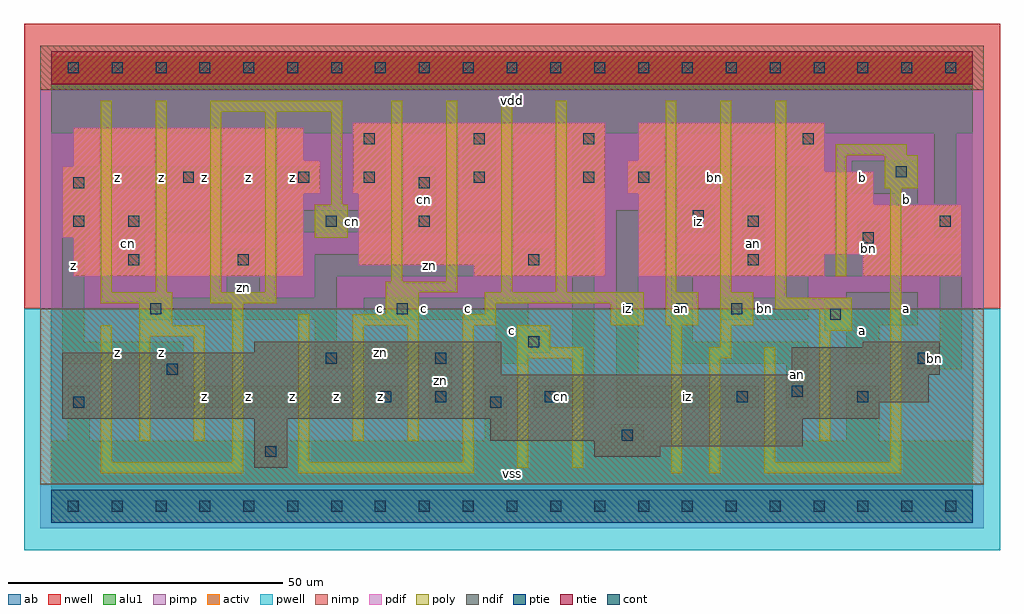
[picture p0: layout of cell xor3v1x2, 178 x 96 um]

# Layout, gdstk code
import gdstk
lib = gdstk.Library(unit=1e-6, precision=1e-09)
def R(c, l, rs):  # rectangles x0, y0, x1, y1
    for r in rs: c.add(gdstk.rectangle(r[:2], r[2:], *l))
def A(c, l, x, y, w, h, nx, ny, dx, dy):  # array of equal rectangles
    R(c, l, [(x+i*dx, y+j*dy, x+i*dx+w, y+j*dy+h) for i in range(nx) for j in range(ny)])
ndif = (3, 0)
pdif = (4, 0)
ntie = (5, 0)
ptie = (6, 0)
cont = (25, 0)
pwell = (41, 0)
nwell = (42, 0)
activ = (43, 0)
pimp = (44, 0)
nimp = (45, 0)
poly = (46, 0)
alu1 = (49, 0)
ab = (63, 0)

xor3v1x2 = lib.new_cell('xor3v1x2')
R(xor3v1x2, ndif, [(37,7,43,16), (99,9,111,11), (99,11,137,12), (80,12,137,16), (2,16,151,19), (2,19,160,24), (2,24,82,28), (135,24,162,29), (37,28,82,30), (148,29,162,30)])
R(xor3v1x2, pdif, [(4,42,46,49), (77,42,101,44), (107,42,141,46), (148,42,166,46), (56,44,101,57), (107,46,166,55), (2,49,46,57), (107,55,150,57), (2,57,49,62), (55,57,101,70), (105,57,150,61), (105,61,141,63), (4,62,49,63), (4,63,46,69), (107,63,141,70)])
R(xor3v1x2, ntie, [(0,77,168,83)])
R(xor3v1x2, ptie, [(0,-3,168,3)])
A(xor3v1x2, cont, 3, -1, 2, 2, 21, 2, 8, 80)
A(xor3v1x2, cont, 104, 35, 2, 2, 3, 1, 10, 0)
A(xor3v1x2, cont, 57, 59, 2, 2, 3, 2, 20, 7)
R(xor3v1x2, cont, [(39,9,41,11), (104,12,106,14), (4,18,6,20), (80,18,82,20), (60,19,62,21), (70,19,72,21), (90,19,92,21), (125,19,127,21), (147,19,149,21), (135,20,137,22), (21,24,23,26), (50,26,52,28), (70,26,72,28), (158,26,160,28), (87,29,89,31), (142,34,144,36), (18,35,20,37), (63,35,65,37), (14,44,16,46), (34,44,36,46), (87,44,89,46), (127,44,129,46), (148,48,150,50), (4,51,6,53), (14,51,16,53), (50,51,52,53), (67,51,69,53), (127,51,129,53), (162,51,164,53), (117,52,119,54), (4,58,6,60), (67,58,69,60), (24,59,26,61), (45,59,47,61), (107,59,109,61), (154,60,156,62), (137,66,139,68)])
R(xor3v1x2, pwell, [(-5,-8,173,36)])
R(xor3v1x2, nwell, [(-5,36,173,88)])
R(xor3v1x2, activ, [(0,-3,168,3), (37,7,43,16), (99,9,111,11), (99,11,137,12), (80,12,137,16), (2,16,151,19), (2,19,160,24), (2,24,82,28), (135,24,162,29), (37,28,82,30), (148,29,162,30), (4,42,46,49), (77,42,101,44), (107,42,141,46), (148,42,166,46), (56,44,101,57), (107,46,166,55), (2,49,46,57), (107,55,150,57), (2,57,49,62), (55,57,101,70), (105,57,150,61), (105,61,141,63), (4,62,49,63), (4,63,46,69), (107,63,141,70), (0,77,168,83)])
R(xor3v1x2, pimp, [(-2,-4,170,4), (-2,36,170,76)])
R(xor3v1x2, nimp, [(-2,4,170,36), (-2,76,170,84)])
R(xor3v1x2, poly, [(9,6,35,8), (45,6,77,8), (113,6,115,33), (120,6,122,27), (130,6,155,8), (85,7,87,27), (95,7,97,27), (9,8,11,33), (33,8,35,37), (45,8,47,35), (75,8,77,33), (130,8,132,29), (153,8,155,58), (16,12,18,31), (26,12,28,31), (55,12,57,33), (65,12,67,33), (140,12,142,32), (85,27,97,29), (120,27,124,29), (85,29,91,33), (122,29,124,33), (16,31,28,33), (140,32,146,36), (16,33,22,37), (55,33,67,35), (75,33,81,35), (102,33,108,37), (112,33,118,39), (122,33,128,39), (61,35,67,39), (79,35,81,37), (132,36,146,38), (9,37,22,39), (29,37,41,39), (79,37,108,39), (132,38,134,74), (9,39,11,74), (19,39,21,74), (29,39,31,72), (39,39,41,72), (61,39,74,41), (82,39,84,74), (92,39,94,74), (112,39,114,74), (122,39,124,74), (62,41,64,74), (72,41,74,74), (143,42,145,64), (48,49,54,55), (51,55,53,72), (152,58,158,64), (143,64,156,66), (29,72,53,74)])
A(xor3v1x2, alu1, 55, 58, 6, 10, 3, 1, 20, 0)
R(xor3v1x2, alu1, [(0,-2,168,12), (3,12,7,22), (79,12,83,22), (102,12,108,15), (145,12,151,22), (69,17,73,26), (20,18,64,22), (88,18,99,22), (103,18,129,22), (134,18,138,26), (20,22,24,26), (95,22,99,50), (103,22,107,50), (48,25,54,26), (156,25,166,29), (2,26,24,30), (48,26,73,30), (81,26,87,28), (113,26,138,30), (145,26,151,32), (81,28,91,32), (162,29,166,42), (2,30,6,49), (48,30,52,34), (113,30,117,42), (81,32,87,34), (141,32,151,33), (141,33,158,38), (16,34,52,38), (57,34,87,38), (122,34,138,38), (32,38,38,47), (48,38,52,42), (134,38,138,42), (145,38,158,39), (12,42,17,50), (48,42,91,46), (113,42,130,46), (134,42,166,46), (85,46,91,47), (126,46,130,55), (134,46,138,58), (147,46,151,52), (2,49,7,58), (154,49,158,57), (161,49,165,68), (12,50,99,54), (103,50,121,54), (66,54,70,62), (115,54,121,55), (146,57,158,63), (2,58,49,62), (105,58,138,62), (135,65,141,68), (0,68,168,82)])
R(xor3v1x2, ab, [(0,0,168,80)])
xor3v1x2.add(gdstk.Label('cn', (14,48), layer=49, texttype=0))
xor3v1x2.add(gdstk.Label('zn', (35,40), layer=49, texttype=0))
xor3v1x2.add(gdstk.Label('zn', (60,28), layer=49, texttype=0))
xor3v1x2.add(gdstk.Label('zn', (71,23), layer=49, texttype=0))
xor3v1x2.add(gdstk.Label('cn', (93,20), layer=49, texttype=0))
xor3v1x2.add(gdstk.Label('zn', (69,44), layer=49, texttype=0))
xor3v1x2.add(gdstk.Label('cn', (68,56), layer=49, texttype=0))
xor3v1x2.add(gdstk.Label('cn', (55,52), layer=49, texttype=0))
xor3v1x2.add(gdstk.Label('iz', (116,20), layer=49, texttype=0))
xor3v1x2.add(gdstk.Label('an', (115,36), layer=49, texttype=0))
xor3v1x2.add(gdstk.Label('an', (128,48), layer=49, texttype=0))
xor3v1x2.add(gdstk.Label('iz', (118,52), layer=49, texttype=0))
xor3v1x2.add(gdstk.Label('iz', (105,36), layer=49, texttype=0))
xor3v1x2.add(gdstk.Label('an', (136,24), layer=49, texttype=0))
xor3v1x2.add(gdstk.Label('bn', (161,27), layer=49, texttype=0))
xor3v1x2.add(gdstk.Label('bn', (130,36), layer=49, texttype=0))
xor3v1x2.add(gdstk.Label('bn', (149,47), layer=49, texttype=0))
xor3v1x2.add(gdstk.Label('bn', (121,60), layer=49, texttype=0))
xor3v1x2.add(gdstk.Label('z', (28,20), layer=49, texttype=0))
xor3v1x2.add(gdstk.Label('z', (36,20), layer=49, texttype=0))
xor3v1x2.add(gdstk.Label('z', (12,28), layer=49, texttype=0))
xor3v1x2.add(gdstk.Label('z', (20,28), layer=49, texttype=0))
xor3v1x2.add(gdstk.Label('z', (4,44), layer=49, texttype=0))
xor3v1x2.add(gdstk.Label('z', (12,60), layer=49, texttype=0))
xor3v1x2.add(gdstk.Label('z', (20,60), layer=49, texttype=0))
xor3v1x2.add(gdstk.Label('z', (28,60), layer=49, texttype=0))
xor3v1x2.add(gdstk.Label('z', (36,60), layer=49, texttype=0))
xor3v1x2.add(gdstk.Label('z', (52,20), layer=49, texttype=0))
xor3v1x2.add(gdstk.Label('z', (60,20), layer=49, texttype=0))
xor3v1x2.add(gdstk.Label('z', (44,20), layer=49, texttype=0))
xor3v1x2.add(gdstk.Label('c', (76,36), layer=49, texttype=0))
xor3v1x2.add(gdstk.Label('c', (68,36), layer=49, texttype=0))
xor3v1x2.add(gdstk.Label('c', (60,36), layer=49, texttype=0))
xor3v1x2.add(gdstk.Label('z', (44,60), layer=49, texttype=0))
xor3v1x2.add(gdstk.Label('vss', (84,6), layer=49, texttype=0))
xor3v1x2.add(gdstk.Label('c', (84,32), layer=49, texttype=0))
xor3v1x2.add(gdstk.Label('vdd', (84,74), layer=49, texttype=0))
xor3v1x2.add(gdstk.Label('a', (156,36), layer=49, texttype=0))
xor3v1x2.add(gdstk.Label('a', (148,32), layer=49, texttype=0))
xor3v1x2.add(gdstk.Label('b', (156,56), layer=49, texttype=0))
xor3v1x2.add(gdstk.Label('b', (148,60), layer=49, texttype=0))

lib.write_gds('xor3v1x2.gds')
